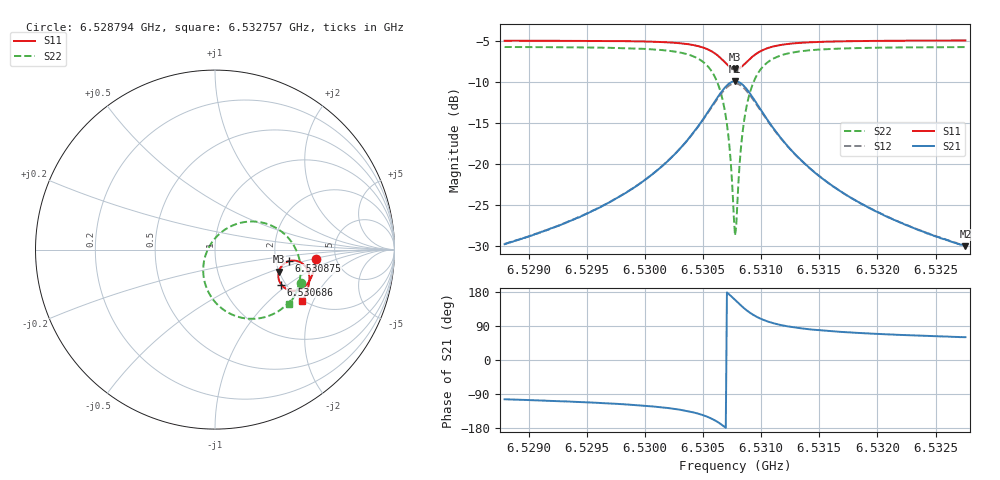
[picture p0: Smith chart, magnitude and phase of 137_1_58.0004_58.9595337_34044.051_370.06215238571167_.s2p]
#  HZ  S  RI  R  50.00
! Rohde & Schwarz Vector Network Analyzer
! Rohde-Schwarz,ZNB20-2Port,1311601062101988,3.16
! Created: UTC 3/21/2024, 12:56:21 AM
! freq[Hz]  re:S11  im:S11  re:S21  im:S21  re:S12  im:S12  re:S22  im:S22
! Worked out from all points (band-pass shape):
!   401 points, 6.528794 GHz to 6.532757 GHz, reference 50 ohm
!   highest |S21| = -9.93 dB at 6.530776 GHz (marker M1); lowest = -30.1 dB at 6.532757 GHz (marker M2)
!   |S21| within 3 dB of the highest: 6.530578 GHz to 6.530975 GHz (397.2 kHz wide, 0.00608 % of centre)
!   lowest |S11| = -8.5 dB at 6.530776 GHz (marker M3), VSWR 2.20, Z = 99.7 - j28.4 ohm
!   |S11| at or under -10 dB: nowhere
!   |S22| runs from -28.8 to -5.8 dB; largest |S21 - S12| = 0.013
!   S11 on the Smith chart (normalised r, x): 6.528794 GHz: 3.49, -0.54; 6.530686 GHz: 1.89, -0.89; 6.530875 GHz: 2.36, -0.37; 6.532757 GHz: 1.97, -1.66
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6.5287944e9  0.5605 -0.053  -0.00763 -0.0314  -0.00837 -0.0314  0.4813 -0.1836
6.5294581e9  0.5513 -0.1092  -0.0172 -0.0448  -0.0184 -0.0445  0.4491 -0.2465
6.5298147e9  0.5409 -0.1432  -0.0291 -0.058  -0.0308 -0.0573  0.4169 -0.2888
6.5301218e9  0.524 -0.1776  -0.0522 -0.077  -0.0544 -0.0756  0.3642 -0.3356
6.5303497e9  0.497 -0.208  -0.0933 -0.0975  -0.0962 -0.094  0.2805 -0.3755
6.5305181e9  0.4522 -0.2281  -0.1641 -0.1046  -0.1666 -0.0974  0.15 -0.38
6.5306171e9  0.4058 -0.2229  -0.2363 -0.0775  -0.2355 -0.0671  0.029 -0.3201
6.5306865e9  0.3691 -0.1948  -0.2898 -0.017  -0.2835 -0.00629  -0.0492 -0.2078
6.5307261e9  0.3551 -0.1659  -0.3066 0.0378  -0.2969 0.0467  -0.0658 -0.1136
6.5307657e9  0.3535 -0.1312  -0.302 0.1007  -0.2903 0.1055  -0.0456 -0.0117
6.5307756e9  0.3554 -0.1223  -0.2968 0.116  -0.2852 0.12  -0.0343 0.0125
6.5307855e9  0.3582 -0.1139  -0.2903 0.131  -0.2785 0.1337  -0.0206 0.0354
6.5307954e9  0.3619 -0.1058  -0.2822 0.1449  -0.2706 0.1467  -0.00493 0.0568
6.5308153e9  0.3717 -0.0911  -0.2627 0.1701  -0.2517 0.1698  0.0319 0.094
6.5308351e9  0.3839 -0.0792  -0.2395 0.1902  -0.2297 0.1885  0.0738 0.1226
6.5308747e9  0.4116 -0.0646  -0.189 0.2146  -0.1816 0.2112  0.1617 0.153
6.530944e9  0.4563 -0.0632  -0.1107 0.2172  -0.1071 0.2138  0.293 0.1421
6.5310431e9  0.4959 -0.0849  -0.0433 0.1854  -0.0416 0.1836  0.4022 0.0721
6.5311917e9  0.5194 -0.1214  -0.00235 0.1373  -0.00104 0.1367  0.4618 -0.0264
6.5314393e9  0.5261 -0.165  0.0155 0.09  0.0165 0.0896  0.4771 -0.1267
6.5321031e9  0.5103 -0.2361  0.0179 0.0433  0.0188 0.043  0.4488 -0.2446
6.5327569e9  0.4866 -0.2867  0.0155 0.0273  0.0163 0.0269  0.4148 -0.3047
